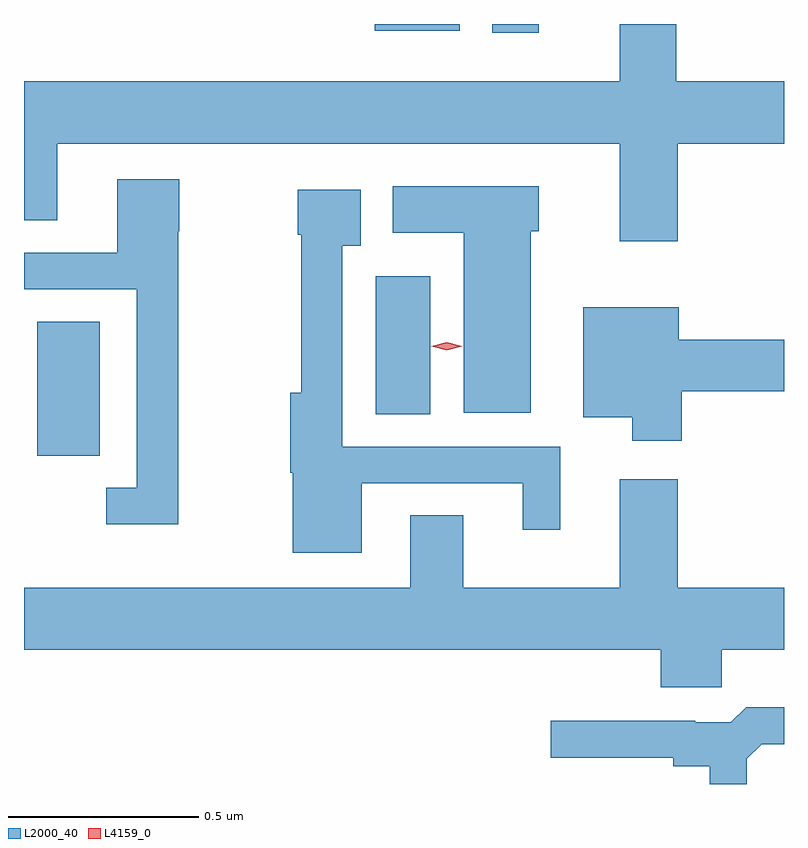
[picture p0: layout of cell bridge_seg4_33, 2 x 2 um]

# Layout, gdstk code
import gdstk
lib = gdstk.Library(unit=1e-6, precision=1e-09)
def R(c, l, rs):  # rectangles x0, y0, x1, y1
    for r in rs: c.add(gdstk.rectangle(r[:2], r[2:], *l))
def P(c, l, *ps):  # polygons
    for p in ps: c.add(gdstk.Polygon(p, *l))
L2000_40 = (2000, 40)
L4159_0 = (4159, 0)

bridge_seg4_33 = lib.new_cell('bridge_seg4_33')
R(bridge_seg4_33, L2000_40, [(792.278,829.299,792.442,829.652), (793.169,829.408,793.312,829.771), (793.475,830.412,793.597,830.435), (793.166,830.417,793.39,830.435)])
P(bridge_seg4_33, L2000_40, [(793.964,830.12),(794.243,830.12),(794.243,830.284),(793.959,830.284),(793.959,830.435),(793.811,830.435),(793.811,830.284),(792.243,830.284),(792.243,829.918),(792.331,829.918),(792.331,830.12),(793.811,830.12),(793.811,829.863),(793.964,829.863)],
  [(792.649,829.89),(792.652,829.89),(792.652,830.026),(792.488,830.026),(792.488,829.833),(792.243,829.833),(792.243,829.737),(792.54,829.737),(792.54,829.215),(792.459,829.215),(792.459,829.118),(792.649,829.118)],
  [(793.576,829.89),(793.597,829.89),(793.597,830.008),(793.214,830.008),(793.214,829.886),(793.4,829.886),(793.4,829.412),(793.576,829.412)],
  [(793.132,829.227),(793.556,829.227),(793.556,829.104),(793.654,829.104),(793.654,829.323),(793.08,829.323),(793.08,829.851),(793.129,829.851),(793.129,829.999),(792.964,829.999),(792.964,829.881),(792.972,829.881),(792.972,829.465),(792.943,829.465),(792.943,829.254),(792.95,829.254),(792.95,829.043),(793.132,829.043)],
  [(793.974,829.468),(794.243,829.468),(794.243,829.604),(793.966,829.604),(793.966,829.69),(793.715,829.69),(793.715,829.4),(793.844,829.4),(793.844,829.338),(793.974,829.338)],
  [(794.079,828.788),(794.243,828.788),(794.243,828.952),(793.964,828.952),(793.964,829.237),(793.811,829.237),(793.811,828.952),(793.399,828.952),(793.399,829.142),(793.259,829.142),(793.259,828.952),(792.243,828.952),(792.243,828.788),(793.919,828.788),(793.919,828.69),(794.079,828.69)],
  [(794.145,828.501),(794.184,828.54),(794.243,828.54),(794.243,828.637),(794.143,828.637),(794.103,828.597),(794.009,828.597),(794.009,828.602),(793.629,828.602),(793.629,828.504),(793.952,828.504),(793.952,828.482),(794.048,828.482),(794.048,828.435),(794.145,828.435)])
P(bridge_seg4_33, L4159_0, [(793.355,829.577),(793.315,829.587),(793.315,829.587),(793.315,829.587),(793.355,829.597),(793.396,829.587),(793.396,829.587),(793.396,829.587)])

lib.write_gds('bridge_seg4_33.gds')
